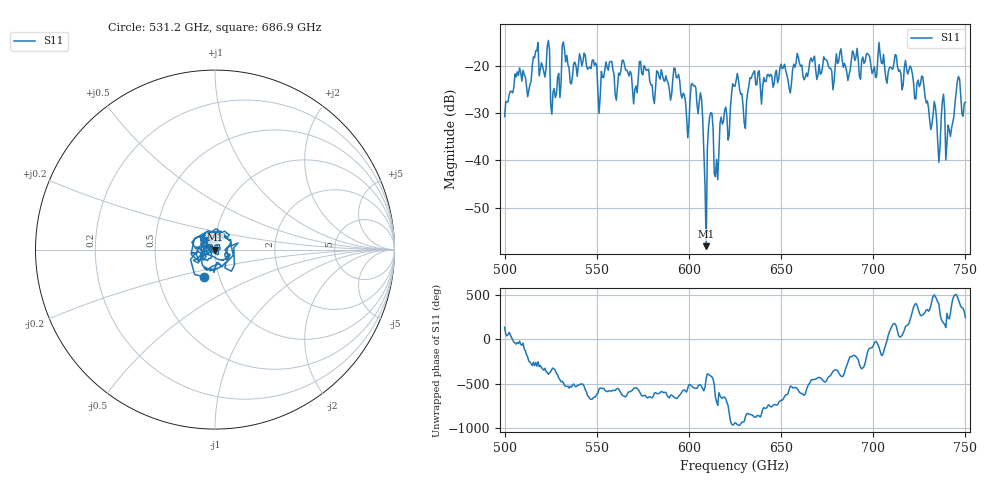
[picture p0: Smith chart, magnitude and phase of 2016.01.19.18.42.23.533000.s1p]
!Created with skrf (http://scikit-rf.org).
# GHz S RI R 50.0
!freq ReS11 ImS11
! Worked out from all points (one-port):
!   401 points, 500 GHz to 750 GHz, reference 50 ohm
!   lowest |S11| = -58.1 dB at 609.4 GHz (marker M1), VSWR 1.00, Z = 50 - j0.121 ohm
!   |S11| at or under -10 dB: start of sweep to end of sweep
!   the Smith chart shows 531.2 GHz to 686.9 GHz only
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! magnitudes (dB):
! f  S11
! 500 GHz  -30.7
! 506.9 GHz  -21.3
! 513.1 GHz  -25.2
! 516.9 GHz  -16.8
! 523.1 GHz  -15.9
! 526.2 GHz  -25.6
! 531.2 GHz  -15.7
! 551.9 GHz  -26.3
! 562.5 GHz  -22.0
! 593.8 GHz  -22.5
! 598.8 GHz  -30.9
! 602.5 GHz  -24.3
! 606.2 GHz  -25.7
! 609.4 GHz  -58.1
! 611.9 GHz  -29.9
! 615 GHz  -39.8
! 618.1 GHz  -32.3
! 625 GHz  -24.3
! 630 GHz  -32.1
! 634.4 GHz  -22.0
! 656.2 GHz  -20.8
! 687.5 GHz  -20.9
! 718.8 GHz  -21.7
! 735.6 GHz  -40.4
! 737.5 GHz  -27.5
! 740.6 GHz  -32.5
! 745.6 GHz  -23.3
! 750 GHz  -27.7
